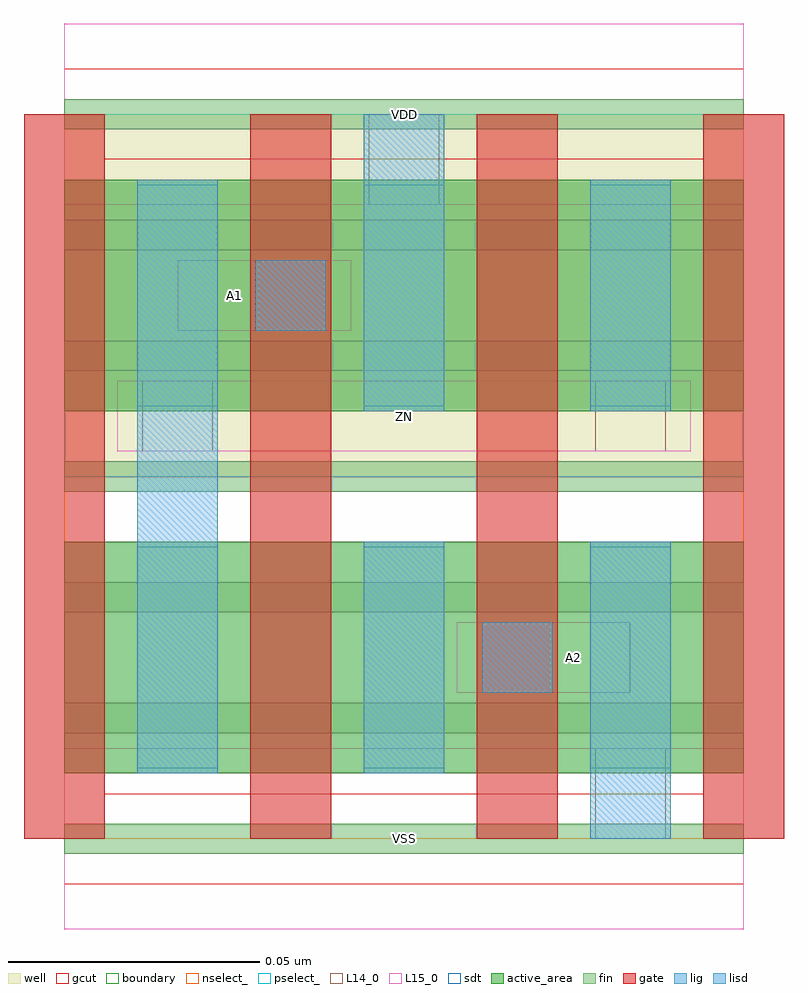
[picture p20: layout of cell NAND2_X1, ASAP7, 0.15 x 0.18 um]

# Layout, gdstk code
import gdstk
lib = gdstk.Library(unit=1e-6, precision=2.5e-10)
def R(c, l, rs):  # rectangles x0, y0, x1, y1
    for r in rs: c.add(gdstk.rectangle(r[:2], r[2:], *l))
def A(c, l, x, y, w, h, nx, ny, dx, dy):  # array of equal rectangles
    R(c, l, [(x+i*dx, y+j*dy, x+i*dx+w, y+j*dy+h) for i in range(nx) for j in range(ny)])
def P(c, l, *ps):  # polygons
    for p in ps: c.add(gdstk.Polygon(p, *l))
well = (1, 0)
fin = (2, 0)
gate = (7, 0)
gcut = (10, 0)
active_area = (11, 0)
nselect_ = (12, 0)
pselect_ = (13, 0)
L14_0 = (14, 0)
L15_0 = (15, 0)
lig = (16, 0)
lisd = (17, 0)
sdt = (88, 0)
boundary = (100, 0)

nand2_x1 = lib.new_cell('NAND2_X1')
R(nand2_x1, well, [(0,0.072,0.135,0.144)])
A(nand2_x1, fin, 0, -0.003, 0.135, 0.006, 1, 7, 0, 0.024)
A(nand2_x1, gate, -0.008, 0, 0.016, 0.144, 4, 1, 0.045, 0)
P(nand2_x1, gcut, [(0,-0.009),(0,0),(-0.008,0),(-0.008,0.135),(0.008,0.135),(0.008,0.009),(0.127,0.009),(0.127,0.135),(-0.008,0.135),(-0.008,0.144),(0,0.144),(0,0.153),(0.135,0.153),(0.135,0.144),(0.143,0.144),(0.143,0),(0.135,0),(0.135,-0.009)])
R(nand2_x1, active_area, [(0,0.013,0.135,0.059), (0,0.085,0.135,0.131)])
R(nand2_x1, nselect_, [(0,0,0.135,0.072)])
R(nand2_x1, pselect_, [(0,0.072,0.135,0.144)])
R(nand2_x1, L14_0, [(0.1055,0,0.1195,0.018), (0.083,0.029,0.097,0.043), (0.0155,0.077,0.0295,0.091), (0.1055,0.077,0.1195,0.091), (0.038,0.101,0.052,0.115), (0.0605,0.126,0.0745,0.144)])
R(nand2_x1, L15_0, [(0,-0.018,0.135,0.018), (0.078,0.029,0.1125,0.043), (0.0105,0.077,0.1245,0.091), (0.0225,0.101,0.057,0.115), (0,0.126,0.135,0.162)])
R(nand2_x1, lig, [(0.083,0.029,0.097,0.043), (0.038,0.101,0.052,0.115)])
R(nand2_x1, lisd, [(0.1045,0,0.1205,0.059), (0.0145,0.013,0.0305,0.131), (0.0595,0.013,0.0755,0.059), (0.0595,0.085,0.0755,0.144), (0.1045,0.085,0.1205,0.131)])
A(nand2_x1, sdt, 0.0145, 0.014, 0.016, 0.044, 3, 2, 0.045, 0.072)
R(nand2_x1, boundary, [(0,0,0.135,0.144)])
nand2_x1.add(gdstk.Label('A1', (0.0338,0.108), layer=15, texttype=251))
nand2_x1.add(gdstk.Label('VSS', (0.0675,0), layer=15, texttype=251))
nand2_x1.add(gdstk.Label('VDD', (0.0675,0.144), layer=15, texttype=251))
nand2_x1.add(gdstk.Label('A2', (0.1013,0.036), layer=15, texttype=251))
nand2_x1.add(gdstk.Label('VSS', (0.0675,0), layer=15, texttype=251))
nand2_x1.add(gdstk.Label('VDD', (0.0675,0.144), layer=15, texttype=251))
nand2_x1.add(gdstk.Label('ZN', (0.0675,0.084), layer=15, texttype=251))
nand2_x1.add(gdstk.Label('VSS', (0.0675,0), layer=15, texttype=251))
nand2_x1.add(gdstk.Label('VDD', (0.0675,0.144), layer=15, texttype=251))
nand2_x1.add(gdstk.Label('VSS', (0.0675,0), layer=3, texttype=251))
nand2_x1.add(gdstk.Label('VSS', (0.0675,0), layer=3, texttype=251))
nand2_x1.add(gdstk.Label('VSS', (0.0675,0), layer=3, texttype=251))
nand2_x1.add(gdstk.Label('VDD', (0.0675,0.144), layer=1, texttype=251))
nand2_x1.add(gdstk.Label('VDD', (0.0675,0.144), layer=1, texttype=251))
nand2_x1.add(gdstk.Label('VDD', (0.0675,0.144), layer=1, texttype=251))

lib.write_gds('NAND2_X1.gds')
